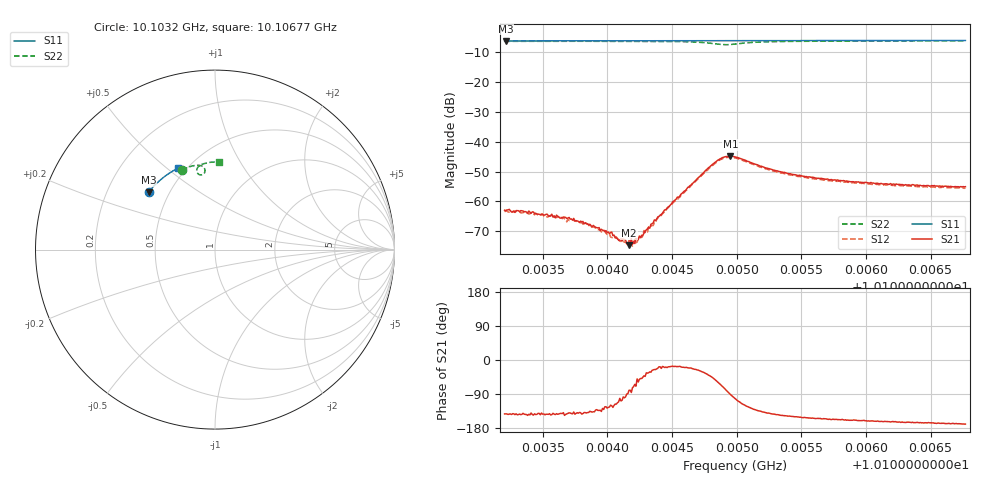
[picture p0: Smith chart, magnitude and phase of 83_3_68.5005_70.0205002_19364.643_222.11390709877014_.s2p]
#  HZ  S  RI  R  50.00
! Rohde & Schwarz Vector Network Analyzer
! Rohde-Schwarz,ZNB20-2Port,1311601062101988,3.16
! Created: UTC 3/20/2024, 4:52:15 PM
! freq[Hz]  re:S11  im:S11  re:S21  im:S21  re:S12  im:S12  re:S22  im:S22
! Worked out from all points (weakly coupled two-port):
!   401 points, 10.1032 GHz to 10.10677 GHz, reference 50 ohm
!   highest |S21| = -44.86 dB at 10.10495 GHz (marker M1); lowest = -74.7 dB at 10.10417 GHz (marker M2)
!   lowest |S11| = -6.2 dB at 10.10321 GHz (marker M3), VSWR 2.91, Z = 19.2 + j16.2 ohm
!   |S11| at or under -10 dB: nowhere
!   |S22| runs from -7.5 to -6.2 dB; largest |S21 - S12| = 0.00059
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1.0103204e10  -0.3702 0.3196  -0.000564 -0.000435  -0.000483 -0.000467  -0.1857 0.4441
1.0103213e10  -0.3698 0.3199  -0.000553 -0.00043  -0.000506 -0.000468  -0.1852 0.4444
1.0103409e10  -0.3623 0.3294  -0.000484 -0.000408  -0.000478 -0.000421  -0.1731 0.4497
1.0103641e10  -0.3531 0.34  -0.000407 -0.000332  -0.000389 -0.000378  -0.1582 0.4558
1.0103802e10  -0.3466 0.3473  -0.00036 -0.000274  -0.000304 -0.000321  -0.1476 0.4596
1.010398e10  -0.3392 0.3551  -0.000171 -0.00026  -0.000185 -0.000263  -0.1351 0.4635
1.0104033e10  -0.3369 0.3576  -0.000156 -0.000263  -0.000124 -0.000216  -0.1313 0.4646
1.0104078e10  -0.3349 0.3594  -9.26e-05 -0.000221  -3.12e-05 -0.00023  -0.1281 0.4654
1.0104167e10  -0.3312 0.3634  3.24e-05 -0.000182  5.07e-05 -0.000216  -0.1211 0.4672
1.0104212e10  -0.3293 0.3652  8.55e-05 -0.000177  0.000106 -0.000207  -0.1177 0.4678
1.0104238e10  -0.3281 0.3664  0.000122 -0.000195  0.000166 -0.000164  -0.1155 0.4682
1.0104274e10  -0.3267 0.3678  0.00019 -0.000191  0.000194 -0.000182  -0.1124 0.4688
1.0104354e10  -0.323 0.3713  0.00039 -0.000192  0.000366 -0.000144  -0.1055 0.4698
1.0104399e10  -0.3211 0.3731  0.000532 -0.000173  0.000507 -0.000157  -0.1013 0.4699
1.01048e10  -0.3027 0.3892  0.00287 -0.0027  0.00297 -0.00236  -0.0556 0.4427
1.010488e10  -0.299 0.3921  0.00209 -0.00481  0.00242 -0.00445  -0.0637 0.4214
1.0104951e10  -0.2958 0.3947  -8.41e-05 -0.00571  0.000404 -0.00547  -0.0859 0.417
1.0104987e10  -0.2943 0.3961  -0.00114 -0.00544  -0.00062 -0.00532  -0.0949 0.4226
1.010529e10  -0.2799 0.4076  -0.00266 -0.00202  -0.00238 -0.00213  -0.0856 0.4682
1.0105584e10  -0.2654 0.4182  -0.00227 -0.00115  -0.00206 -0.00124  -0.0606 0.4796
1.0106181e10  -0.235 0.4377  -0.00185 -0.000571  -0.00174 -0.000714  -0.0171 0.4873
1.010677e10  -0.2036 0.4545  -0.00173 -0.000333  -0.0016 -0.000475  0.0225 0.4891
